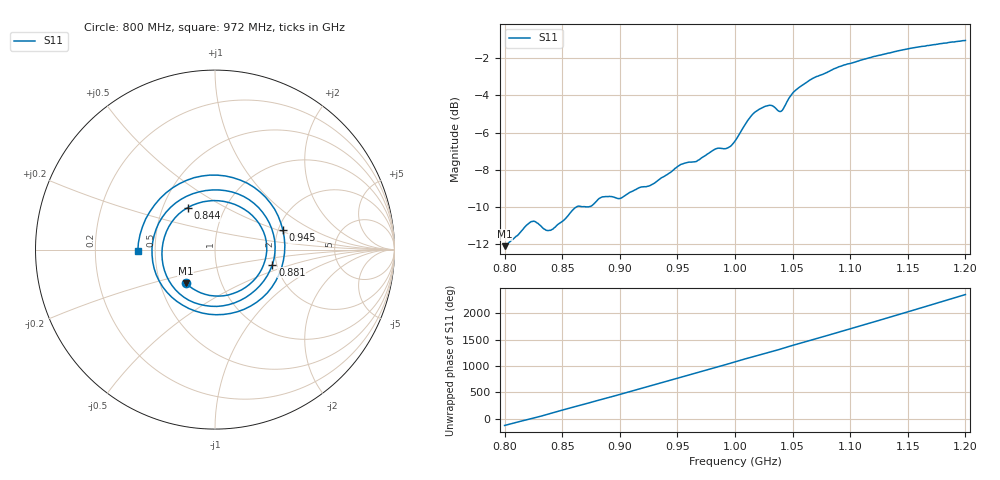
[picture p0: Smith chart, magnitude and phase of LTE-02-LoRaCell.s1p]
! NanoVNA-App
! Date: 2026-05-22 19:11:03
! Start: 800MHz Stop: 1.2GHz Points: 401
! S-Parameter data: F S11
# Hz S RI R 50
!  Frequency  S11_Real  S11_Imag
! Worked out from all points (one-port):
!   401 points, 800 MHz to 1.2 GHz, reference 50 ohm
!   lowest |S11| = -12.1 dB at 800 MHz (marker M1), VSWR 1.66, Z = 33.9 - j13.5 ohm
!   |S11| at or under -10 dB: start of sweep to 862.5 MHz; 870.6728 MHz to 873.0983 MHz (2.425 MHz wide, 0.278 % of centre)
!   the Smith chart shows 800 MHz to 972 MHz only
!   S11 on the Smith chart (normalised r, x): 800 MHz: 0.68, -0.27; 844 MHz: 0.67, +0.34; 881 MHz: 1.90, -0.35; 945 MHz: 2.13, +0.54; 972 MHz: 0.40, -0.01
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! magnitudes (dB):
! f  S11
! 800 MHz  -12.1
! 823 MHz  -10.8
! 827 MHz  -10.8
! 837 MHz  -11.3
! 844 MHz  -11.1
! 850 MHz  -10.8
! 862 MHz  -10.0
! 874 MHz  -10.0
! 881 MHz  -9.6
! 887 MHz  -9.5
! 900 MHz  -9.6
! 917 MHz  -9.0
! 928 MHz  -8.8
! 945 MHz  -8.1
! 950 MHz  -7.8
! 972 MHz  -7.3
! 983 MHz  -6.9
! 994 MHz  -6.8
! 1 GHz  -6.5
! 1.011 GHz  -5.4
! 1.017 GHz  -4.9
! 1.03 GHz  -4.5
! 1.04 GHz  -4.9
! 1.05 GHz  -3.9
! 1.069 GHz  -3.0
! 1.1 GHz  -2.3
! 1.15 GHz  -1.5
! 1.2 GHz  -1.0
